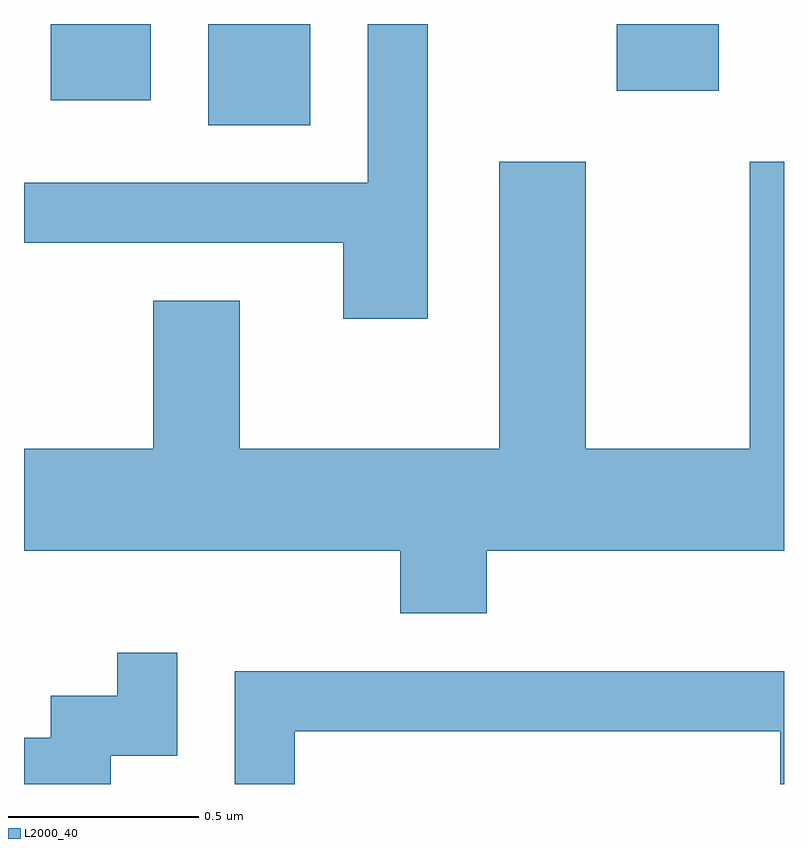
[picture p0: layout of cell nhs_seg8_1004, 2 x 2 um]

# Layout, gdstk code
import gdstk
lib = gdstk.Library(unit=1e-6, precision=1e-09)
def R(c, l, rs):  # rectangles x0, y0, x1, y1
    for r in rs: c.add(gdstk.rectangle(r[:2], r[2:], *l))
def P(c, l, *ps):  # polygons
    for p in ps: c.add(gdstk.Polygon(p, *l))
L2000_40 = (2000, 40)

nhs_seg8_1004 = lib.new_cell('nhs_seg8_1004')
R(nhs_seg8_1004, L2000_40, [(193.096,1853.076,193.364,1853.342), (192.681,1853.141,192.944,1853.342), (194.171,1853.166,194.439,1853.342)])
P(nhs_seg8_1004, L2000_40, [(193.674,1853.342),(193.516,1853.342),(193.516,1852.924),(192.611,1852.924),(192.611,1852.766),(193.451,1852.766),(193.451,1852.566),(193.674,1852.566)],
  [(193.829,1851.956),(194.611,1851.956),(194.611,1852.979),(194.521,1852.979),(194.521,1852.224),(194.089,1852.224),(194.089,1852.979),(193.861,1852.979),(193.861,1852.224),(193.179,1852.224),(193.179,1852.614),(192.951,1852.614),(192.951,1852.224),(192.611,1852.224),(192.611,1851.956),(193.601,1851.956),(193.601,1851.791),(193.829,1851.791)],
  [(192.839,1851.416),(193.014,1851.416),(193.014,1851.688),(192.856,1851.688),(192.856,1851.574),(192.681,1851.574),(192.681,1851.464),(192.611,1851.464),(192.611,1851.342),(192.839,1851.342)],
  [(193.324,1851.481),(194.601,1851.481),(194.601,1851.342),(194.611,1851.342),(194.611,1851.639),(193.166,1851.639),(193.166,1851.342),(193.324,1851.342)])

lib.write_gds('nhs_seg8_1004.gds')
